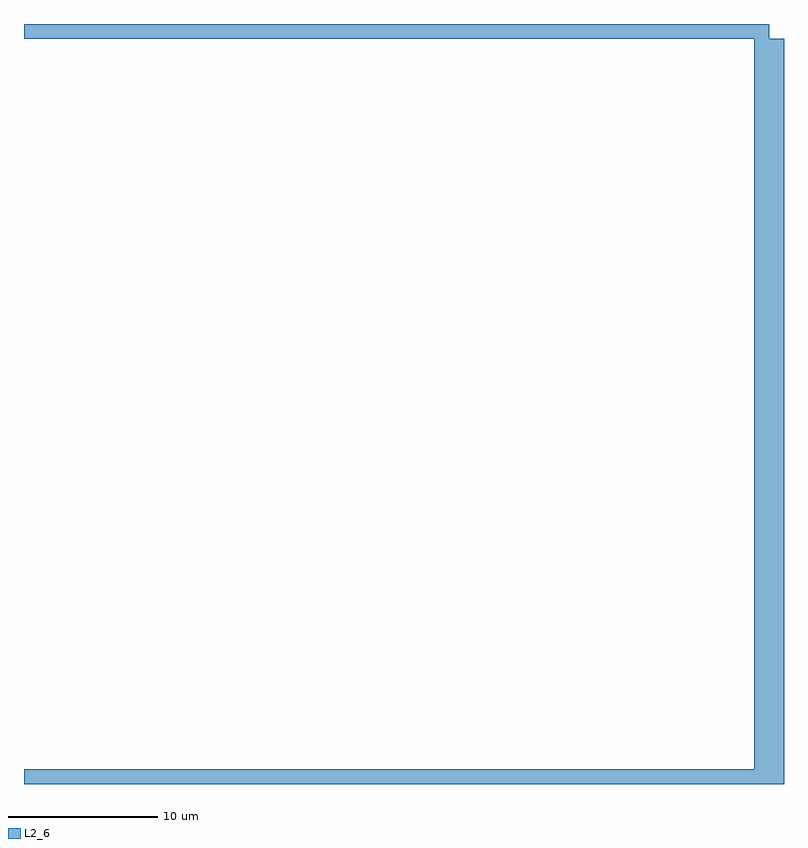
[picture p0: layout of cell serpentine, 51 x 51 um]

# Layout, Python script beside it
import gdspy

# Define the library and cell for the GDS layout
lib = gdspy.GdsLibrary()
cell = lib.new_cell('serpentine')

# Define the layer and datatype
layer, datatype = 2, 6

# Define the path width, number of turns, and segment length
path_width = 1
num_turns = 15
segment_length = 50

# Calculate the total length and height of the serpentine pattern
total_length = segment_length * num_turns
total_height = segment_length

# Create the serpentine pattern
x, y = 0, 0
for i in range(num_turns):
    # Draw a horizontal segment
    cell.add(gdspy.Rectangle((x, y), (x + segment_length, y + path_width), layer=layer, datatype=datatype))
    x += segment_length
    
    # Draw a vertical segment
    if i % 2 == 0:
        cell.add(gdspy.Rectangle((x - path_width, y), (x, y + segment_length), layer=layer, datatype=datatype))
        y += segment_length
    else:
        cell.add(gdspy.Rectangle((x, y - segment_length), (x + path_width, y), layer=layer, datatype=datatype))
        y -= segment_length

    # Draw a horizontal segment
    if i < num_turns - 1:
        cell.add(gdspy.Rectangle((x, y), (x - segment_length, y + path_width), layer=layer, datatype=datatype))
        x -= segment_length

# Save the design to a GDS file
lib.write_gds('serpentine.gds')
